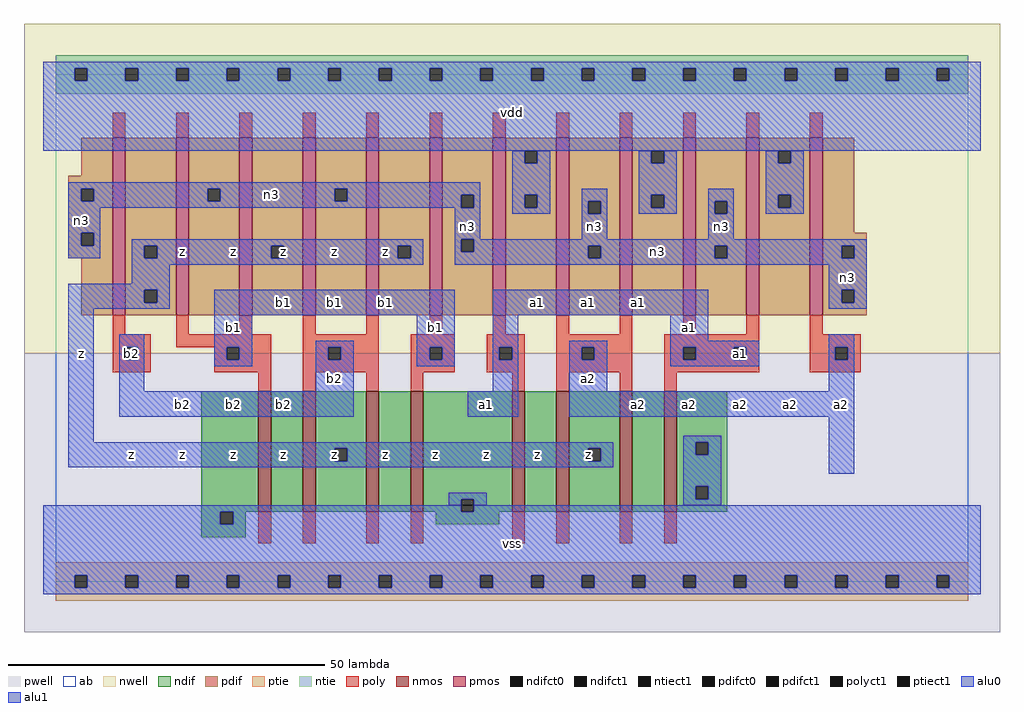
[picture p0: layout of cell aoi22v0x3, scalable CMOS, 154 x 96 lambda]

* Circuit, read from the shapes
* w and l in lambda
.subckt aoi22v0x3 a1 a2 b1 b2 n3 vdd vss z
M1 n1 b1 vss vss nfet w=19 l=2
M2 z b2 n1 vss nfet w=19 l=2
M3 n2 b2 z vss nfet w=19 l=2
M4 vss b1 n2 vss nfet w=19 l=2
M5 n4 a1 vss vss nfet w=19 l=2
M6 z a2 n4 vss nfet w=19 l=2
M7 n5 a2 z vss nfet w=19 l=2
M8 vss a1 n5 vss nfet w=19 l=2
M9 z b2 n3 vdd pfet w=28 l=2 m=3
M10 n3 b1 z vdd pfet w=28 l=2 m=3
M11 vdd a1 n3 vdd pfet w=28 l=2 m=3
M12 n3 a2 vdd vdd pfet w=28 l=2 m=3
.ends

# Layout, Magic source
magic
tech scmos
<< ab >>
rect 0 0 144 80
<< nwell >>
rect -5 36 149 88
<< pwell >>
rect -5 -8 149 36
<< poly >>
rect 9 70 11 74
rect 19 70 21 74
rect 29 70 31 74
rect 39 70 41 74
rect 49 70 51 74
rect 59 70 61 74
rect 69 70 71 74
rect 79 70 81 74
rect 89 70 91 74
rect 99 70 101 74
rect 109 70 111 74
rect 119 70 121 74
rect 9 39 11 42
rect 19 39 21 42
rect 29 39 31 42
rect 39 39 41 42
rect 49 39 51 42
rect 59 39 61 42
rect 69 39 71 42
rect 79 39 81 42
rect 89 39 91 42
rect 99 39 101 42
rect 109 39 111 42
rect 9 37 15 39
rect 19 37 34 39
rect 9 35 11 37
rect 13 35 15 37
rect 9 33 15 35
rect 25 35 27 37
rect 29 35 34 37
rect 25 33 34 35
rect 32 30 34 33
rect 39 37 51 39
rect 39 35 43 37
rect 45 35 51 37
rect 39 33 51 35
rect 39 30 41 33
rect 49 30 51 33
rect 56 37 63 39
rect 56 35 59 37
rect 61 35 63 37
rect 56 33 63 35
rect 68 37 74 39
rect 68 35 70 37
rect 72 35 74 37
rect 68 33 74 35
rect 56 30 58 33
rect 72 30 74 33
rect 79 37 91 39
rect 79 35 83 37
rect 85 35 91 37
rect 79 33 91 35
rect 79 30 81 33
rect 89 30 91 33
rect 96 37 111 39
rect 96 35 99 37
rect 101 35 107 37
rect 109 35 111 37
rect 96 33 111 35
rect 119 39 121 42
rect 119 37 127 39
rect 119 35 123 37
rect 125 35 127 37
rect 119 33 127 35
rect 96 30 98 33
rect 32 6 34 11
rect 39 6 41 11
rect 49 6 51 11
rect 56 6 58 11
rect 72 6 74 11
rect 79 6 81 11
rect 89 6 91 11
rect 96 6 98 11
<< ndif >>
rect 23 11 32 30
rect 34 11 39 30
rect 41 21 49 30
rect 41 19 44 21
rect 46 19 49 21
rect 41 11 49 19
rect 51 11 56 30
rect 58 13 72 30
rect 58 11 64 13
rect 66 11 72 13
rect 74 11 79 30
rect 81 21 89 30
rect 81 19 84 21
rect 86 19 89 21
rect 81 11 89 19
rect 91 11 96 30
rect 98 22 106 30
rect 98 20 101 22
rect 103 20 106 22
rect 98 15 106 20
rect 98 13 101 15
rect 103 13 106 15
rect 98 11 106 13
rect 23 9 26 11
rect 28 9 30 11
rect 23 7 30 9
rect 60 9 70 11
<< pdif >>
rect 4 64 9 70
rect 2 62 9 64
rect 2 60 4 62
rect 6 60 9 62
rect 2 55 9 60
rect 2 53 4 55
rect 6 53 9 55
rect 2 51 9 53
rect 4 42 9 51
rect 11 53 19 70
rect 11 51 14 53
rect 16 51 19 53
rect 11 46 19 51
rect 11 44 14 46
rect 16 44 19 46
rect 11 42 19 44
rect 21 62 29 70
rect 21 60 24 62
rect 26 60 29 62
rect 21 42 29 60
rect 31 53 39 70
rect 31 51 34 53
rect 36 51 39 53
rect 31 42 39 51
rect 41 62 49 70
rect 41 60 44 62
rect 46 60 49 62
rect 41 42 49 60
rect 51 53 59 70
rect 51 51 54 53
rect 56 51 59 53
rect 51 42 59 51
rect 61 61 69 70
rect 61 59 64 61
rect 66 59 69 61
rect 61 54 69 59
rect 61 52 64 54
rect 66 52 69 54
rect 61 42 69 52
rect 71 68 79 70
rect 71 66 74 68
rect 76 66 79 68
rect 71 61 79 66
rect 71 59 74 61
rect 76 59 79 61
rect 71 42 79 59
rect 81 60 89 70
rect 81 58 84 60
rect 86 58 89 60
rect 81 53 89 58
rect 81 51 84 53
rect 86 51 89 53
rect 81 42 89 51
rect 91 68 99 70
rect 91 66 94 68
rect 96 66 99 68
rect 91 61 99 66
rect 91 59 94 61
rect 96 59 99 61
rect 91 42 99 59
rect 101 60 109 70
rect 101 58 104 60
rect 106 58 109 60
rect 101 53 109 58
rect 101 51 104 53
rect 106 51 109 53
rect 101 42 109 51
rect 111 68 119 70
rect 111 66 114 68
rect 116 66 119 68
rect 111 61 119 66
rect 111 59 114 61
rect 116 59 119 61
rect 111 42 119 59
rect 121 55 126 70
rect 121 53 128 55
rect 121 51 124 53
rect 126 51 128 53
rect 121 46 128 51
rect 121 44 124 46
rect 126 44 128 46
rect 121 42 128 44
<< alu1 >>
rect -2 81 146 82
rect -2 79 3 81
rect 5 79 11 81
rect 13 79 19 81
rect 21 79 27 81
rect 29 79 35 81
rect 37 79 43 81
rect 45 79 51 81
rect 53 79 59 81
rect 61 79 67 81
rect 69 79 75 81
rect 77 79 83 81
rect 85 79 91 81
rect 93 79 99 81
rect 101 79 107 81
rect 109 79 115 81
rect 117 79 123 81
rect 125 79 131 81
rect 133 79 139 81
rect 141 79 146 81
rect -2 68 146 79
rect 12 53 58 54
rect 12 51 14 53
rect 16 51 34 53
rect 36 51 54 53
rect 56 51 58 53
rect 12 50 58 51
rect 12 47 18 50
rect 2 46 18 47
rect 2 44 14 46
rect 16 44 18 46
rect 2 43 18 44
rect 2 22 6 43
rect 25 42 63 46
rect 10 37 14 39
rect 10 35 11 37
rect 13 35 14 37
rect 10 30 14 35
rect 25 37 31 42
rect 25 35 27 37
rect 29 35 31 37
rect 25 34 31 35
rect 41 37 47 38
rect 41 35 43 37
rect 45 35 47 37
rect 41 30 47 35
rect 57 37 63 42
rect 57 35 59 37
rect 61 35 63 37
rect 57 34 63 35
rect 69 42 103 46
rect 69 37 73 42
rect 97 38 103 42
rect 69 35 70 37
rect 72 35 73 37
rect 69 30 73 35
rect 10 26 47 30
rect 65 26 73 30
rect 81 37 87 38
rect 81 35 83 37
rect 85 35 87 37
rect 81 30 87 35
rect 97 37 111 38
rect 97 35 99 37
rect 101 35 107 37
rect 109 35 111 37
rect 97 34 111 35
rect 122 37 126 39
rect 122 35 123 37
rect 125 35 126 37
rect 122 30 126 35
rect 81 26 126 30
rect 2 21 88 22
rect 2 19 44 21
rect 46 19 84 21
rect 86 19 88 21
rect 2 18 88 19
rect 122 17 126 26
rect -2 11 64 12
rect 66 11 146 12
rect -2 9 26 11
rect 28 9 146 11
rect -2 1 146 9
rect -2 -1 3 1
rect 5 -1 11 1
rect 13 -1 19 1
rect 21 -1 27 1
rect 29 -1 35 1
rect 37 -1 43 1
rect 45 -1 51 1
rect 53 -1 59 1
rect 61 -1 67 1
rect 69 -1 75 1
rect 77 -1 83 1
rect 85 -1 91 1
rect 93 -1 99 1
rect 101 -1 107 1
rect 109 -1 115 1
rect 117 -1 123 1
rect 125 -1 131 1
rect 133 -1 139 1
rect 141 -1 146 1
rect -2 -2 146 -1
<< ptie >>
rect 0 1 144 3
rect 0 -1 3 1
rect 5 -1 11 1
rect 13 -1 19 1
rect 21 -1 27 1
rect 29 -1 35 1
rect 37 -1 43 1
rect 45 -1 51 1
rect 53 -1 59 1
rect 61 -1 67 1
rect 69 -1 75 1
rect 77 -1 83 1
rect 85 -1 91 1
rect 93 -1 99 1
rect 101 -1 107 1
rect 109 -1 115 1
rect 117 -1 123 1
rect 125 -1 131 1
rect 133 -1 139 1
rect 141 -1 144 1
rect 0 -3 144 -1
<< ntie >>
rect 0 81 144 83
rect 0 79 3 81
rect 5 79 11 81
rect 13 79 19 81
rect 21 79 27 81
rect 29 79 35 81
rect 37 79 43 81
rect 45 79 51 81
rect 53 79 59 81
rect 61 79 67 81
rect 69 79 75 81
rect 77 79 83 81
rect 85 79 91 81
rect 93 79 99 81
rect 101 79 107 81
rect 109 79 115 81
rect 117 79 123 81
rect 125 79 131 81
rect 133 79 139 81
rect 141 79 144 81
rect 0 77 144 79
<< nmos >>
rect 32 11 34 30
rect 39 11 41 30
rect 49 11 51 30
rect 56 11 58 30
rect 72 11 74 30
rect 79 11 81 30
rect 89 11 91 30
rect 96 11 98 30
<< pmos >>
rect 9 42 11 70
rect 19 42 21 70
rect 29 42 31 70
rect 39 42 41 70
rect 49 42 51 70
rect 59 42 61 70
rect 69 42 71 70
rect 79 42 81 70
rect 89 42 91 70
rect 99 42 101 70
rect 109 42 111 70
rect 119 42 121 70
<< polyct1 >>
rect 11 35 13 37
rect 27 35 29 37
rect 43 35 45 37
rect 59 35 61 37
rect 70 35 72 37
rect 83 35 85 37
rect 99 35 101 37
rect 107 35 109 37
rect 123 35 125 37
<< ndifct0 >>
rect 64 12 66 13
rect 101 20 103 22
rect 101 13 103 15
<< ndifct1 >>
rect 44 19 46 21
rect 64 11 66 12
rect 84 19 86 21
rect 26 9 28 11
<< ntiect1 >>
rect 3 79 5 81
rect 11 79 13 81
rect 19 79 21 81
rect 27 79 29 81
rect 35 79 37 81
rect 43 79 45 81
rect 51 79 53 81
rect 59 79 61 81
rect 67 79 69 81
rect 75 79 77 81
rect 83 79 85 81
rect 91 79 93 81
rect 99 79 101 81
rect 107 79 109 81
rect 115 79 117 81
rect 123 79 125 81
rect 131 79 133 81
rect 139 79 141 81
<< ptiect1 >>
rect 3 -1 5 1
rect 11 -1 13 1
rect 19 -1 21 1
rect 27 -1 29 1
rect 35 -1 37 1
rect 43 -1 45 1
rect 51 -1 53 1
rect 59 -1 61 1
rect 67 -1 69 1
rect 75 -1 77 1
rect 83 -1 85 1
rect 91 -1 93 1
rect 99 -1 101 1
rect 107 -1 109 1
rect 115 -1 117 1
rect 123 -1 125 1
rect 131 -1 133 1
rect 139 -1 141 1
<< pdifct0 >>
rect 4 60 6 62
rect 4 53 6 55
rect 24 60 26 62
rect 44 60 46 62
rect 64 59 66 61
rect 64 52 66 54
rect 74 66 76 68
rect 74 59 76 61
rect 84 58 86 60
rect 84 51 86 53
rect 94 66 96 68
rect 94 59 96 61
rect 104 58 106 60
rect 104 51 106 53
rect 114 66 116 68
rect 114 59 116 61
rect 124 51 126 53
rect 124 44 126 46
<< pdifct1 >>
rect 14 51 16 53
rect 14 44 16 46
rect 34 51 36 53
rect 54 51 56 53
<< alu0 >>
rect 72 66 74 68
rect 76 66 78 68
rect 2 62 67 63
rect 2 60 4 62
rect 6 60 24 62
rect 26 60 44 62
rect 46 61 67 62
rect 46 60 64 61
rect 2 59 64 60
rect 66 59 67 61
rect 2 55 7 59
rect 2 53 4 55
rect 6 53 7 55
rect 63 54 67 59
rect 72 61 78 66
rect 92 66 94 68
rect 96 66 98 68
rect 72 59 74 61
rect 76 59 78 61
rect 72 58 78 59
rect 83 60 87 62
rect 83 58 84 60
rect 86 58 87 60
rect 92 61 98 66
rect 112 66 114 68
rect 116 66 118 68
rect 92 59 94 61
rect 96 59 98 61
rect 92 58 98 59
rect 103 60 107 62
rect 103 58 104 60
rect 106 58 107 60
rect 112 61 118 66
rect 112 59 114 61
rect 116 59 118 61
rect 112 58 118 59
rect 83 54 87 58
rect 103 54 107 58
rect 2 51 7 53
rect 63 52 64 54
rect 66 53 128 54
rect 66 52 84 53
rect 63 51 84 52
rect 86 51 104 53
rect 106 51 124 53
rect 126 51 128 53
rect 63 50 128 51
rect 122 46 128 50
rect 122 44 124 46
rect 126 44 128 46
rect 122 43 128 44
rect 99 22 105 23
rect 99 20 101 22
rect 103 20 105 22
rect 99 15 105 20
rect 62 13 68 14
rect 62 12 64 13
rect 66 12 68 13
rect 99 13 101 15
rect 103 13 105 15
rect 99 12 105 13
<< labels >>
rlabel alu0 4 57 4 57 6 n3
rlabel alu0 65 56 65 56 6 n3
rlabel alu0 34 61 34 61 6 n3
rlabel alu0 105 56 105 56 6 n3
rlabel alu0 85 56 85 56 6 n3
rlabel alu0 125 48 125 48 6 n3
rlabel alu0 95 52 95 52 6 n3
rlabel alu1 12 20 12 20 6 z
rlabel alu1 20 20 20 20 6 z
rlabel alu1 20 28 20 28 6 b2
rlabel polyct1 12 36 12 36 6 b2
rlabel alu1 4 36 4 36 6 z
rlabel alu1 20 52 20 52 6 z
rlabel alu1 28 20 28 20 6 z
rlabel alu1 28 28 28 28 6 b2
rlabel alu1 36 20 36 20 6 z
rlabel alu1 36 28 36 28 6 b2
rlabel alu1 44 20 44 20 6 z
rlabel alu1 52 20 52 20 6 z
rlabel alu1 44 32 44 32 6 b2
rlabel alu1 28 40 28 40 6 b1
rlabel alu1 36 44 36 44 6 b1
rlabel alu1 44 44 44 44 6 b1
rlabel alu1 52 44 52 44 6 b1
rlabel alu1 36 52 36 52 6 z
rlabel alu1 44 52 44 52 6 z
rlabel alu1 52 52 52 52 6 z
rlabel alu1 28 52 28 52 6 z
rlabel alu1 72 6 72 6 6 vss
rlabel alu1 60 20 60 20 6 z
rlabel alu1 68 20 68 20 6 z
rlabel alu1 68 28 68 28 6 a1
rlabel alu1 76 20 76 20 6 z
rlabel alu1 84 20 84 20 6 z
rlabel alu1 84 32 84 32 6 a2
rlabel alu1 60 40 60 40 6 b1
rlabel alu1 76 44 76 44 6 a1
rlabel alu1 84 44 84 44 6 a1
rlabel alu1 72 74 72 74 6 vdd
rlabel alu1 100 28 100 28 6 a2
rlabel alu1 108 28 108 28 6 a2
rlabel alu1 92 28 92 28 6 a2
rlabel alu1 100 40 100 40 6 a1
rlabel polyct1 108 36 108 36 6 a1
rlabel alu1 92 44 92 44 6 a1
rlabel alu1 116 28 116 28 6 a2
rlabel alu1 124 28 124 28 6 a2
<< end >>
